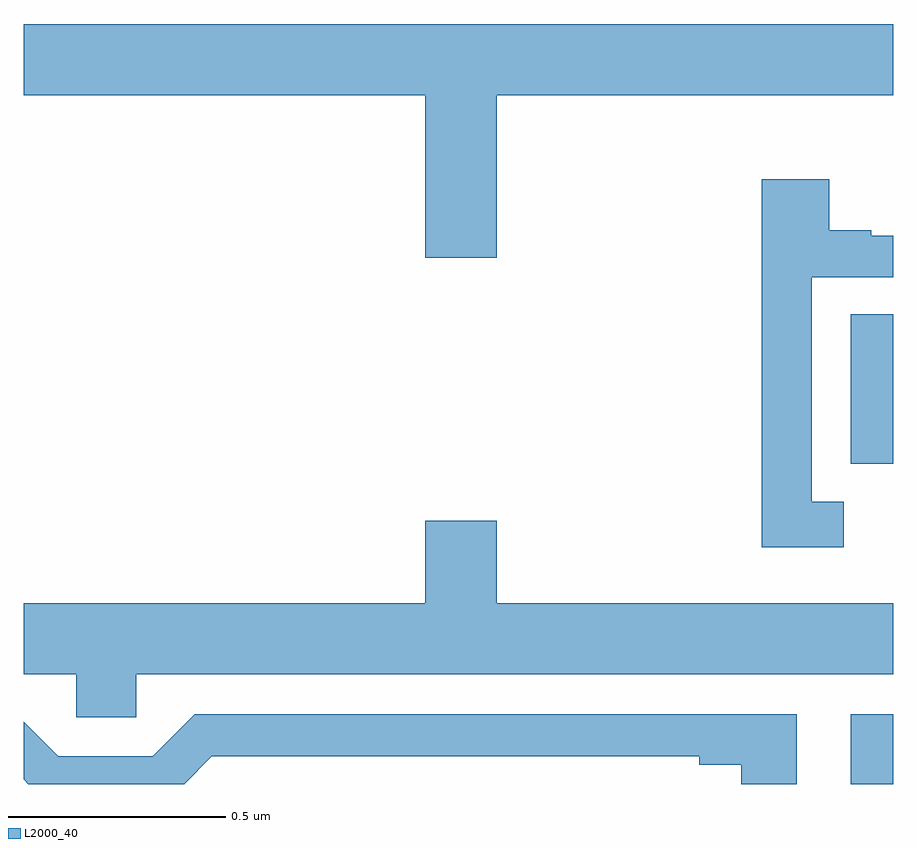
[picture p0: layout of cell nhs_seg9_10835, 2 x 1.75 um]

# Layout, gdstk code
import gdstk
lib = gdstk.Library(unit=1e-6, precision=1e-09)
def R(c, l, rs):  # rectangles x0, y0, x1, y1
    for r in rs: c.add(gdstk.rectangle(r[:2], r[2:], *l))
def P(c, l, *ps):  # polygons
    for p in ps: c.add(gdstk.Polygon(p, *l))
L2000_40 = (2000, 40)

nhs_seg9_10835 = lib.new_cell('nhs_seg9_10835')
R(nhs_seg9_10835, L2000_40, [(249.902,1197.5,250,1197.66), (249.902,1198.237,250,1198.58)])
P(nhs_seg9_10835, L2000_40, [(249.088,1199.084),(250,1199.084),(250,1199.248),(248,1199.248),(248,1199.084),(248.924,1199.084),(248.924,1198.71),(249.088,1198.71)],
  [(249.886,1198.149),(249.813,1198.149),(249.813,1198.665),(250,1198.665),(250,1198.761),(249.949,1198.761),(249.949,1198.774),(249.853,1198.774),(249.853,1198.891),(249.697,1198.891),(249.697,1198.044),(249.886,1198.044)],
  [(248.259,1197.752),(250,1197.752),(250,1197.916),(249.088,1197.916),(249.088,1198.105),(248.924,1198.105),(248.924,1197.916),(248,1197.916),(248,1197.752),(248.121,1197.752),(248.121,1197.654),(248.259,1197.654)],
  [(248.433,1197.564),(249.554,1197.564),(249.554,1197.544),(249.65,1197.544),(249.65,1197.5),(249.778,1197.5),(249.778,1197.66),(248.393,1197.66),(248.297,1197.564),(248.079,1197.564),(248,1197.643),(248,1197.511),(248.011,1197.5),(248.369,1197.5)])

lib.write_gds('nhs_seg9_10835.gds')
